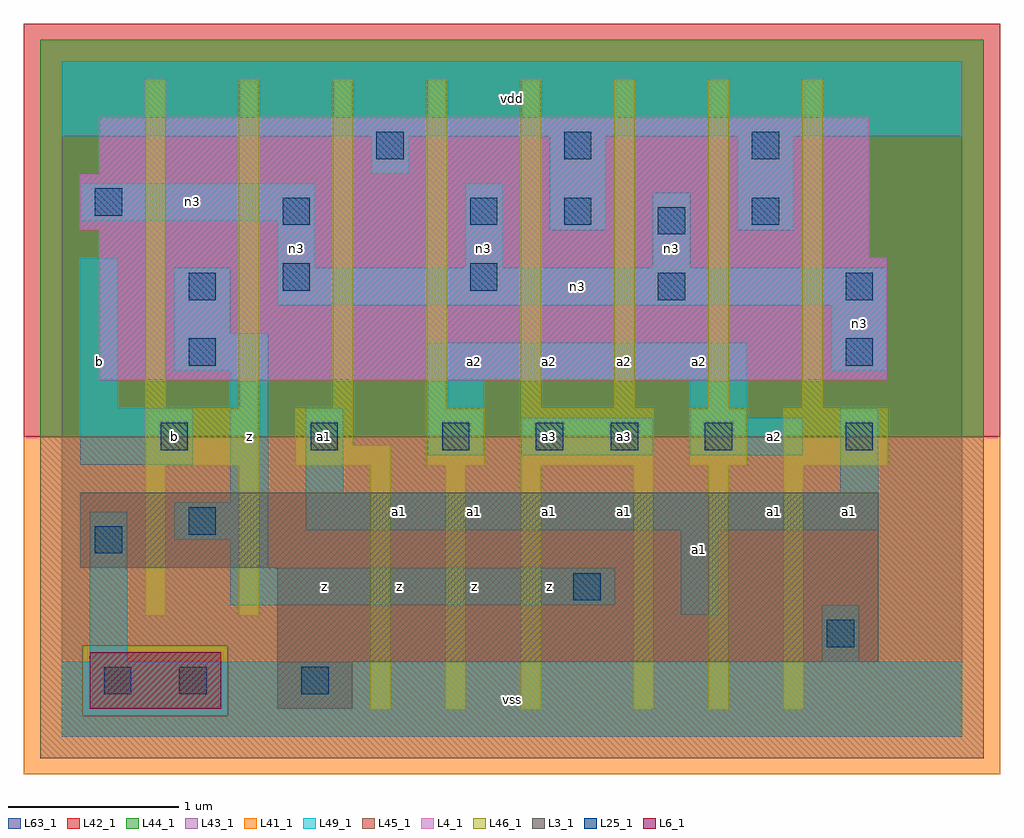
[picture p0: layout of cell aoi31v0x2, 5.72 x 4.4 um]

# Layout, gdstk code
import gdstk
lib = gdstk.Library(unit=1e-6, precision=1e-09)
def R(c, l, rs):  # rectangles x0, y0, x1, y1
    for r in rs: c.add(gdstk.rectangle(r[:2], r[2:], *l))
def A(c, l, x, y, w, h, nx, ny, dx, dy):  # array of equal rectangles
    R(c, l, [(x+i*dx, y+j*dy, x+i*dx+w, y+j*dy+h) for i in range(nx) for j in range(ny)])
L3_1 = (3, 1)
L4_1 = (4, 1)
L6_1 = (6, 1)
L25_1 = (25, 1)
L41_1 = (41, 1)
L42_1 = (42, 1)
L43_1 = (43, 1)
L44_1 = (44, 1)
L45_1 = (45, 1)
L46_1 = (46, 1)
L49_1 = (49, 1)
L63_1 = (63, 1)

aoi31v0x2 = lib.new_cell('aoi31v0x2')
R(aoi31v0x2, L3_1, [(1.265,0.165,1.705,0.44), (1.265,0.44,4.785,0.99), (0.11,0.99,4.785,1.43)])
R(aoi31v0x2, L4_1, [(0.22,2.09,4.84,2.805), (0.22,2.805,4.73,2.97), (0.11,2.97,4.73,3.3), (0.22,3.3,4.73,3.63)])
R(aoi31v0x2, L6_1, [(0.165,0.165,0.935,0.495)])
A(aoi31v0x2, L25_1, 1.845, 3.385, 0.16, 0.16, 3, 1, 1.1, 0)
R(aoi31v0x2, L25_1, [(0.25,0.25,0.41,0.41), (0.69,0.25,0.85,0.41), (1.405,0.25,1.565,0.41), (4.485,0.525,4.645,0.685), (3,0.8,3.16,0.96), (0.195,1.075,0.355,1.235), (0.745,1.185,0.905,1.345), (0.58,1.68,0.74,1.84), (1.46,1.68,1.62,1.84), (2.23,1.68,2.39,1.84), (2.78,1.68,2.94,1.84), (3.22,1.68,3.38,1.84), (3.77,1.68,3.93,1.84), (4.595,1.68,4.755,1.84), (0.745,2.175,0.905,2.335), (4.595,2.175,4.755,2.335), (0.745,2.56,0.905,2.72), (3.495,2.56,3.655,2.72), (4.595,2.56,4.755,2.72), (1.295,2.615,1.455,2.775), (2.395,2.615,2.555,2.775), (3.495,2.945,3.655,3.105), (1.295,3,1.455,3.16), (2.395,3,2.555,3.16), (2.945,3,3.105,3.16), (4.045,3,4.205,3.16), (0.195,3.055,0.355,3.215)])
R(aoi31v0x2, L41_1, [(-0.22,-0.22,5.5,1.76)])
R(aoi31v0x2, L42_1, [(-0.22,1.76,5.5,4.18)])
R(aoi31v0x2, L43_1, [(0.165,0.165,0.935,0.495), (1.265,0.165,1.705,0.44), (1.265,0.44,4.785,0.99), (0.11,0.99,4.785,1.43), (0.22,2.09,4.84,2.805), (0.22,2.805,4.73,2.97), (0.11,2.97,4.73,3.3), (0.22,3.3,4.73,3.63)])
R(aoi31v0x2, L44_1, [(0.125,0.125,0.975,0.535), (-0.125,1.76,5.405,4.085)])
R(aoi31v0x2, L45_1, [(-0.125,-0.125,5.405,0.125), (-0.125,0.125,0.125,0.535), (0.975,0.125,5.405,0.535), (-0.125,0.535,5.405,1.76)])
A(aoi31v0x2, L46_1, 1.81, 0.16, 0.12, 1.43, 3, 1, 0.44, 0)
A(aoi31v0x2, L46_1, 3.35, 0.16, 0.12, 1.43, 3, 1, 0.44, 0)
A(aoi31v0x2, L46_1, 0.49, 1.93, 0.12, 1.925, 8, 1, 0.55, 0)
R(aoi31v0x2, L46_1, [(0.49,0.71,0.61,1.59), (1.04,0.71,1.16,1.59), (0.49,1.59,1.16,1.93), (1.37,1.59,1.93,1.71), (2.14,1.59,2.48,1.93), (2.69,1.59,3.47,1.93), (3.68,1.59,4.02,1.93), (4.23,1.59,4.845,1.93), (1.37,1.71,1.71,1.93)])
R(aoi31v0x2, L49_1, [(0,0,5.28,0.44), (0.165,0.44,0.385,1.32), (4.455,0.44,4.675,0.77), (3.63,0.715,3.85,1.21), (0.99,0.77,3.245,0.99), (0.99,0.99,1.21,1.155), (0.66,1.155,1.21,1.375), (1.43,1.21,4.785,1.43), (0.99,1.375,1.21,2.145), (1.43,1.43,1.65,1.925), (4.565,1.43,4.785,1.925), (0.11,1.595,0.77,1.925), (2.145,1.65,2.475,2.09), (2.695,1.65,3.465,1.87), (3.685,1.65,4.345,1.87), (3.685,1.87,4.015,2.09), (0.11,1.925,0.33,2.805), (2.145,2.09,4.015,2.31), (0.66,2.145,1.21,2.365), (4.51,2.145,4.84,2.53), (0.66,2.365,0.99,2.75), (1.265,2.53,4.84,2.75), (1.265,2.75,1.485,3.025), (2.365,2.75,2.585,3.245), (3.465,2.75,3.685,3.19), (2.86,2.97,3.19,3.52), (3.96,2.97,4.29,3.52), (0.11,3.025,1.485,3.245), (1.815,3.3,2.035,3.52), (0,3.52,5.28,3.96)])
R(aoi31v0x2, L63_1, [(0,0,5.28,3.96)])
aoi31v0x2.add(gdstk.Label('b', (0.66,1.76), layer=49, texttype=1))
aoi31v0x2.add(gdstk.Label('b', (0.22,2.2), layer=49, texttype=1))
aoi31v0x2.add(gdstk.Label('z', (1.54,0.88), layer=49, texttype=1))
aoi31v0x2.add(gdstk.Label('a1', (1.54,1.76), layer=49, texttype=1))
aoi31v0x2.add(gdstk.Label('z', (1.1,1.76), layer=49, texttype=1))
aoi31v0x2.add(gdstk.Label('n3', (1.375,2.86), layer=49, texttype=1))
aoi31v0x2.add(gdstk.Label('n3', (0.77,3.135), layer=49, texttype=1))
aoi31v0x2.add(gdstk.Label('vss', (2.64,0.22), layer=49, texttype=1))
aoi31v0x2.add(gdstk.Label('z', (2.42,0.88), layer=49, texttype=1))
aoi31v0x2.add(gdstk.Label('z', (2.86,0.88), layer=49, texttype=1))
aoi31v0x2.add(gdstk.Label('z', (1.98,0.88), layer=49, texttype=1))
aoi31v0x2.add(gdstk.Label('a1', (1.98,1.32), layer=49, texttype=1))
aoi31v0x2.add(gdstk.Label('a1', (2.42,1.32), layer=49, texttype=1))
aoi31v0x2.add(gdstk.Label('a1', (2.86,1.32), layer=49, texttype=1))
aoi31v0x2.add(gdstk.Label('a3', (2.86,1.76), layer=49, texttype=1))
aoi31v0x2.add(gdstk.Label('a2', (2.42,2.2), layer=49, texttype=1))
aoi31v0x2.add(gdstk.Label('a2', (2.86,2.2), layer=49, texttype=1))
aoi31v0x2.add(gdstk.Label('n3', (2.475,2.86), layer=49, texttype=1))
aoi31v0x2.add(gdstk.Label('vdd', (2.64,3.74), layer=49, texttype=1))
aoi31v0x2.add(gdstk.Label('a1', (3.3,1.32), layer=49, texttype=1))
aoi31v0x2.add(gdstk.Label('a1', (4.18,1.32), layer=49, texttype=1))
aoi31v0x2.add(gdstk.Label('a1', (3.74,1.1), layer=49, texttype=1))
aoi31v0x2.add(gdstk.Label('a2', (4.18,1.76), layer=49, texttype=1))
aoi31v0x2.add(gdstk.Label('a3', (3.3,1.76), layer=49, texttype=1))
aoi31v0x2.add(gdstk.Label('a2', (3.3,2.2), layer=49, texttype=1))
aoi31v0x2.add(gdstk.Label('a2', (3.74,2.2), layer=49, texttype=1))
aoi31v0x2.add(gdstk.Label('n3', (3.575,2.86), layer=49, texttype=1))
aoi31v0x2.add(gdstk.Label('a1', (4.62,1.32), layer=49, texttype=1))
aoi31v0x2.add(gdstk.Label('n3', (4.675,2.42), layer=49, texttype=1))
aoi31v0x2.add(gdstk.Label('n3', (3.025,2.64), layer=49, texttype=1))

lib.write_gds('aoi31v0x2.gds')
